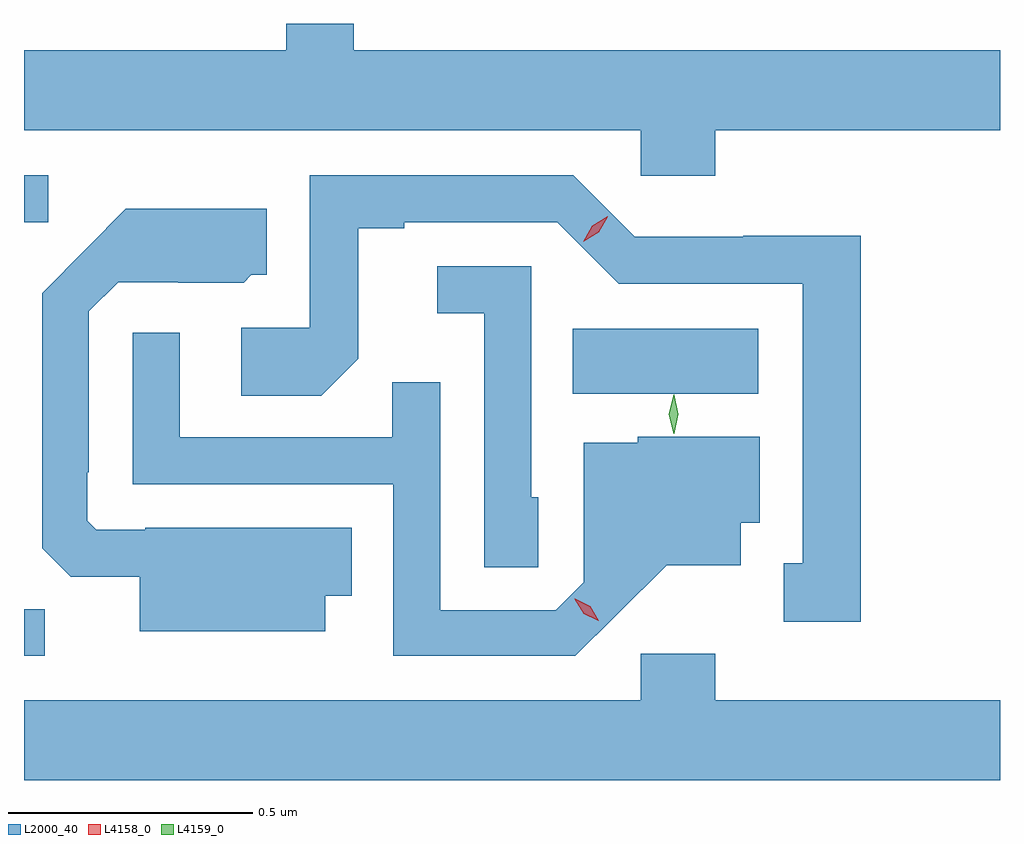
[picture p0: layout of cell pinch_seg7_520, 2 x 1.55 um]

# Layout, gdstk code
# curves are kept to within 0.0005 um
import gdstk
lib = gdstk.Library(unit=1e-6, precision=1e-09)
def R(c, l, rs):  # rectangles x0, y0, x1, y1
    for r in rs: c.add(gdstk.rectangle(r[:2], r[2:], *l))
def P(c, l, *ps):  # polygons
    for p in ps: c.add(gdstk.Polygon(p, *l))
L2000_40 = (2000, 40)
L4158_0 = (4158, 0)
L4159_0 = (4159, 0)

pinch_seg7_520 = lib.new_cell('pinch_seg7_520')
R(pinch_seg7_520, L2000_40, [(136.466,1071.468,136.509,1071.563), (137.59,1072.004,137.971,1072.138), (136.466,1072.356,136.516,1072.452)])
P(pinch_seg7_520, L2000_40, [(137.142,1072.763),(137.003,1072.763),(137.003,1072.708),(136.466,1072.708),(136.466,1072.544),(137.73,1072.544),(137.73,1072.451),(137.882,1072.451),(137.882,1072.544),(138.466,1072.544),(138.466,1072.708),(137.142,1072.708)],
  [(138.181,1072.328),(137.94,1072.328),(137.94,1072.326),(137.718,1072.326),(137.592,1072.452),(137.052,1072.452),(137.052,1072.14),(136.911,1072.14),(136.911,1072),(137.075,1072),(137.151,1072.076),(137.151,1072.344),(137.245,1072.344),(137.245,1072.356),(137.559,1072.356),(137.685,1072.23),(138.062,1072.23),(138.062,1071.657),(138.023,1071.657),(138.023,1071.537),(138.181,1071.537)],
  [(137.083,1071.59),(137.138,1071.59),(137.138,1071.73),(136.714,1071.73),(136.714,1071.726),(136.614,1071.726),(136.596,1071.744),(136.596,1071.844),(136.599,1071.844),(136.599,1072.173),(136.659,1072.233),(136.782,1072.233),(136.782,1072.232),(136.916,1072.232),(136.932,1072.248),(136.963,1072.248),(136.963,1072.384),(136.675,1072.384),(136.503,1072.21),(136.503,1071.688),(136.562,1071.629),(136.703,1071.629),(136.703,1071.518),(137.083,1071.518)],
  [(137.52,1071.792),(137.505,1071.792),(137.505,1072.266),(137.313,1072.266),(137.313,1072.169),(137.409,1072.169),(137.409,1071.649),(137.52,1071.649)],
  [(137.68,1071.551),(137.783,1071.653),(137.935,1071.653),(137.935,1071.74),(137.974,1071.74),(137.974,1071.916),(137.724,1071.916),(137.724,1071.904),(137.613,1071.904),(137.613,1071.618),(137.556,1071.561),(137.319,1071.561),(137.319,1072.028),(137.221,1072.028),(137.221,1071.915),(136.785,1071.915),(136.785,1072.129),(136.689,1072.129),(136.689,1071.819),(137.223,1071.819),(137.223,1071.468),(137.596,1071.468)],
  [(138.466,1071.376),(137.882,1071.376),(137.882,1071.472),(137.73,1071.472),(137.73,1071.376),(136.466,1071.376),(136.466,1071.212),(138.466,1071.212)])
P(pinch_seg7_520, L4158_0, [(137.612,1072.316),(137.612,1072.316),(137.63,1072.349),(137.662,1072.368),(137.662,1072.368),(137.662,1072.367),(137.644,1072.335),(137.612,1072.316)],
  [(137.643,1071.539),(137.613,1071.554),(137.595,1071.583),(137.595,1071.584),(137.596,1071.584),(137.626,1071.569),(137.644,1071.539),(137.644,1071.539)])
P(pinch_seg7_520, L4159_0, [(137.797,1071.922),(137.797,1071.922),(137.787,1071.962),(137.797,1072.002),(137.797,1072.002),(137.798,1072.002),(137.807,1071.962),(137.798,1071.922)])

lib.write_gds('pinch_seg7_520.gds')
